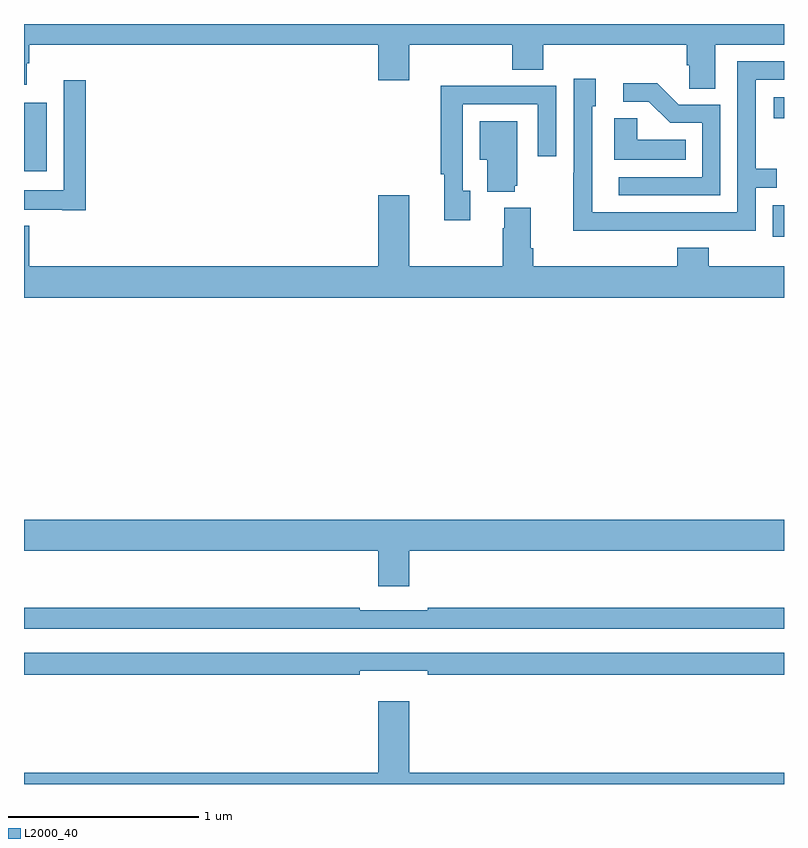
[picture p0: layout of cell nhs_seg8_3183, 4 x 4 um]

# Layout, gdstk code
import gdstk
lib = gdstk.Library(unit=1e-6, precision=1e-09)
def R(c, l, rs):  # rectangles x0, y0, x1, y1
    for r in rs: c.add(gdstk.rectangle(r[:2], r[2:], *l))
def P(c, l, *ps):  # polygons
    for p in ps: c.add(gdstk.Polygon(p, *l))
L2000_40 = (2000, 40)

nhs_seg8_3183 = lib.new_cell('nhs_seg8_3183')
R(nhs_seg8_3183, L2000_40, [(310.941,1156.779,311,1156.947), (307,1157.126,307.12,1157.485), (310.947,1157.405,311,1157.515)])
P(nhs_seg8_3183, L2000_40, [(310.639,1157.792),(311,1157.792),(311,1157.9),(307,1157.9),(307,1157.58),(307.015,1157.58),(307.015,1157.694),(307.028,1157.694),(307.028,1157.792),(308.864,1157.792),(308.864,1157.604),(309.028,1157.604),(309.028,1157.792),(309.569,1157.792),(309.569,1157.659),(309.734,1157.659),(309.734,1157.792),(310.487,1157.792),(310.487,1157.683),(310.5,1157.683),(310.5,1157.56),(310.639,1157.56)],
  [(310.355,1156.812),(310.851,1156.812),(310.851,1157.037),(310.961,1157.037),(310.961,1157.138),(310.851,1157.138),(310.851,1157.607),(311,1157.607),(311,1157.703),(310.755,1157.703),(310.755,1156.908),(309.99,1156.908),(309.99,1157.466),(310.009,1157.466),(310.009,1157.611),(309.894,1157.611),(309.894,1157.117),(309.892,1157.117),(309.892,1156.811),(310.355,1156.811)],
  [(307.325,1157.605),(307.209,1157.605),(307.209,1157.026),(307,1157.026),(307,1156.922),(307.202,1156.922),(307.202,1156.92),(307.325,1156.92)],
  [(310.665,1157.475),(310.446,1157.475),(310.333,1157.588),(310.155,1157.588),(310.155,1157.49),(310.289,1157.49),(310.4,1157.379),(310.569,1157.379),(310.569,1157.094),(310.131,1157.094),(310.131,1156.998),(310.665,1156.998)],
  [(309.349,1157.022),(309.309,1157.022),(309.309,1157.478),(309.705,1157.478),(309.705,1157.205),(309.801,1157.205),(309.801,1157.574),(309.485,1157.574),(309.485,1157.576),(309.193,1157.576),(309.193,1157.11),(309.212,1157.11),(309.212,1156.866),(309.349,1156.866)],
  [(310.484,1157.29),(310.227,1157.29),(310.227,1157.405),(310.106,1157.405),(310.106,1157.186),(310.484,1157.186)],
  [(309.584,1157.049),(309.595,1157.049),(309.595,1157.389),(309.398,1157.389),(309.398,1157.186),(309.437,1157.186),(309.437,1157.018),(309.584,1157.018)],
  [(311,1156.624),(310.604,1156.624),(310.604,1156.723),(310.439,1156.723),(310.439,1156.624),(309.68,1156.624),(309.68,1156.72),(309.667,1156.72),(309.667,1156.933),(309.527,1156.933),(309.527,1156.826),(309.52,1156.826),(309.52,1156.624),(309.028,1156.624),(309.028,1156.999),(308.864,1156.999),(308.864,1156.624),(307.028,1156.624),(307.028,1156.837),(307,1156.837),(307,1156.46),(311,1156.46)],
  [(309.028,1155.128),(311,1155.128),(311,1155.292),(307,1155.292),(307,1155.128),(308.864,1155.128),(308.864,1154.94),(309.028,1154.94)],
  [(311,1154.827),(309.124,1154.827),(309.124,1154.814),(308.768,1154.814),(308.768,1154.827),(307,1154.827),(307,1154.718),(311,1154.718)],
  [(308.768,1154.495),(309.124,1154.495),(309.124,1154.476),(311,1154.476),(311,1154.592),(307,1154.592),(307,1154.476),(308.768,1154.476)],
  [(311,1153.96),(309.028,1153.96),(309.028,1154.335),(308.864,1154.335),(308.864,1153.96),(307,1153.96),(307,1153.9),(311,1153.9)])

lib.write_gds('nhs_seg8_3183.gds')
